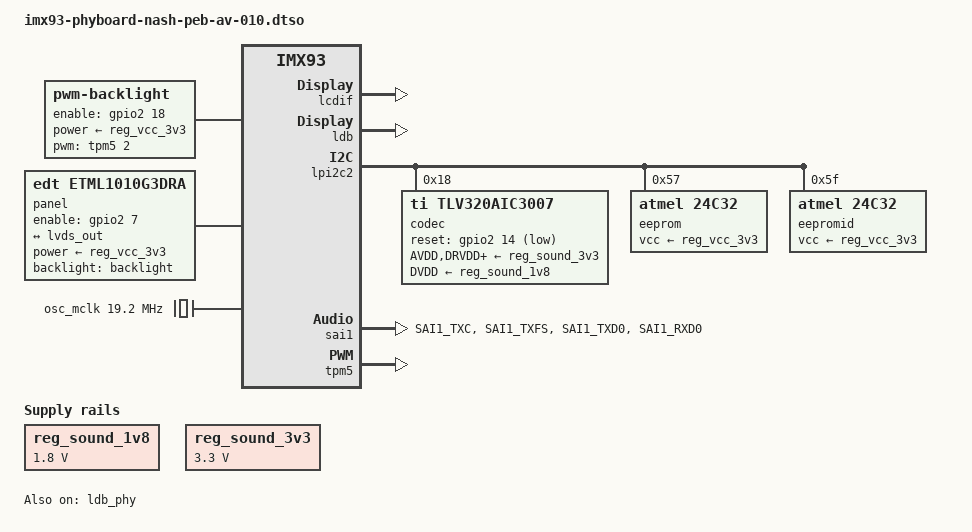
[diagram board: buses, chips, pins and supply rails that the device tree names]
// SPDX-License-Identifier: GPL-2.0
/*
 * Copyright (C) 2024 PHYTEC Messtechnik GmbH
 * Author: Primoz Fiser <primoz.fiser@norik.com>
 */

#include <dt-bindings/clock/imx93-clock.h>
#include <dt-bindings/gpio/gpio.h>
#include "imx93-pinfunc.h"

/dts-v1/;
/plugin/;

/ {
	compatible = "phytec,imx93-phyboard-nash";
};

&{/} {
	backlight: backlight {
		compatible = "pwm-backlight";
		pinctrl-names = "default";
		pinctrl-0 = <&pinctrl_backlight>;
		brightness-levels= <0 4 8 16 32 64 128 255>;
		default-brightness-level = <6>;
		enable-gpios = <&gpio2 18 GPIO_ACTIVE_HIGH>;
		power-supply = <&reg_vcc_3v3>;
		pwms = <&tpm5 2 50000 0>;
	};

	panel {
		compatible = "edt,etml1010g3dra";
		backlight = <&backlight>;
		enable-gpios = <&gpio2 7 GPIO_ACTIVE_HIGH>;
		power-supply = <&reg_vcc_3v3>;

		port {
			panel_in: endpoint {
				remote-endpoint = <&lvds_out>;
			};
		};
	};

	reg_sound_1v8: regulator-1v8 {
		compatible = "regulator-fixed";
		regulator-name = "VCC-1V8-AUDIO";
		regulator-max-microvolt = <1800000>;
		regulator-min-microvolt = <1800000>;
	};

	reg_sound_3v3: regulator-3v3 {
		compatible = "regulator-fixed";
		regulator-name = "VCC-3V3-AUDIO";
		regulator-max-microvolt = <3300000>;
		regulator-min-microvolt = <3300000>;
	};

	sound-peb-av-10 {
		compatible = "simple-audio-card";
		simple-audio-card,name = "snd-peb-av-10";
		simple-audio-card,format = "i2s";
		simple-audio-card,bitclock-master = <&dailink_master>;
		simple-audio-card,frame-master = <&dailink_master>;
		simple-audio-card,widgets =
			"Line", "Line In",
			"Speaker", "Speaker",
			"Microphone", "Microphone Jack",
			"Headphone", "Headphone Jack";
		simple-audio-card,routing =
			"Speaker", "SPOP",
			"Speaker", "SPOM",
			"Headphone Jack", "HPLOUT",
			"Headphone Jack", "HPROUT",
			"LINE1L", "Line In",
			"LINE1R", "Line In",
			"MIC3R", "Microphone Jack",
			"Microphone Jack", "Mic Bias";

		simple-audio-card,cpu {
			sound-dai = <&sai1>;
		};

		dailink_master: simple-audio-card,codec {
			sound-dai = <&codec>;
			clocks = <&osc_mclk>;
		};
	};

	osc_mclk: oscillator-mclk {
		compatible = "fixed-clock";
		#clock-cells = <0>;
		clock-frequency = <19200000>;
	};
};

&lcdif {
	assigned-clock-rates = <498000000>, <71142857>, <400000000>, <133333333>;
	status = "okay";
};

&ldb {
	status = "okay";

	lvds-channel@0 {
		#address-cells = <1>;
		#size-cells = <0>;
		fsl,data-mapping = "spwg";
		fsl,data-width = <24>;
		status = "okay";

		port@1 {
			reg = <1>;

			lvds_out: endpoint {
				remote-endpoint = <&panel_in>;
			};
		};
	};
};

&ldb_phy {
	status = "okay";
};

&lpi2c2 {
	#address-cells = <1>;
	#size-cells = <0>;

	codec: codec@18 {
		compatible = "ti,tlv320aic3007";
		reg = <0x18>;
		#sound-dai-cells = <0>;
		pinctrl-names = "default";
		pinctrl-0 = <&pinctrl_codec>;
		reset-gpios = <&gpio2 14 GPIO_ACTIVE_LOW>;
		AVDD-supply = <&reg_sound_3v3>;
		DRVDD-supply = <&reg_sound_3v3>;
		DVDD-supply = <&reg_sound_1v8>;
		IOVDD-supply = <&reg_sound_3v3>;
		ai3x-gpio-func = <0xd 0x0>;
		ai3x-micbias-vg = <2>;
	};

	eeprom@57 {
		compatible = "atmel,24c32";
		reg = <0x57>;
		pagesize = <32>;
		vcc-supply = <&reg_vcc_3v3>;
	};

	eepromid@5f {
		compatible = "atmel,24c32";
		reg = <0x5f>;
		pagesize = <32>;
		size = <32>;
		vcc-supply = <&reg_vcc_3v3>;
	};
};

&sai1 {
	#sound-dai-cells = <0>;
	pinctrl-names = "default";
	pinctrl-0 = <&pinctrl_sai1>;
	status = "okay";
};

&tpm5 {
	status = "okay";
};

&iomuxc {
	pinctrl_backlight: backlightgrp {
		fsl,pins = <
			MX93_PAD_GPIO_IO18__TPM5_CH2		0x31e
			MX93_PAD_GPIO_IO07__GPIO2_IO07		0x31e
		>;
	};

	pinctrl_codec: codecgrp {
		fsl,pins = <
			MX93_PAD_GPIO_IO14__GPIO2_IO14		0x39e
		>;
	};

	pinctrl_sai1: sai1grp {
		fsl,pins = <
			MX93_PAD_SAI1_TXC__SAI1_TX_BCLK			0x1202
			MX93_PAD_SAI1_TXFS__SAI1_TX_SYNC		0x1202
			MX93_PAD_SAI1_TXD0__SAI1_TX_DATA00		0x1402
			MX93_PAD_SAI1_RXD0__SAI1_RX_DATA00		0x1402
		>;
	};
};
